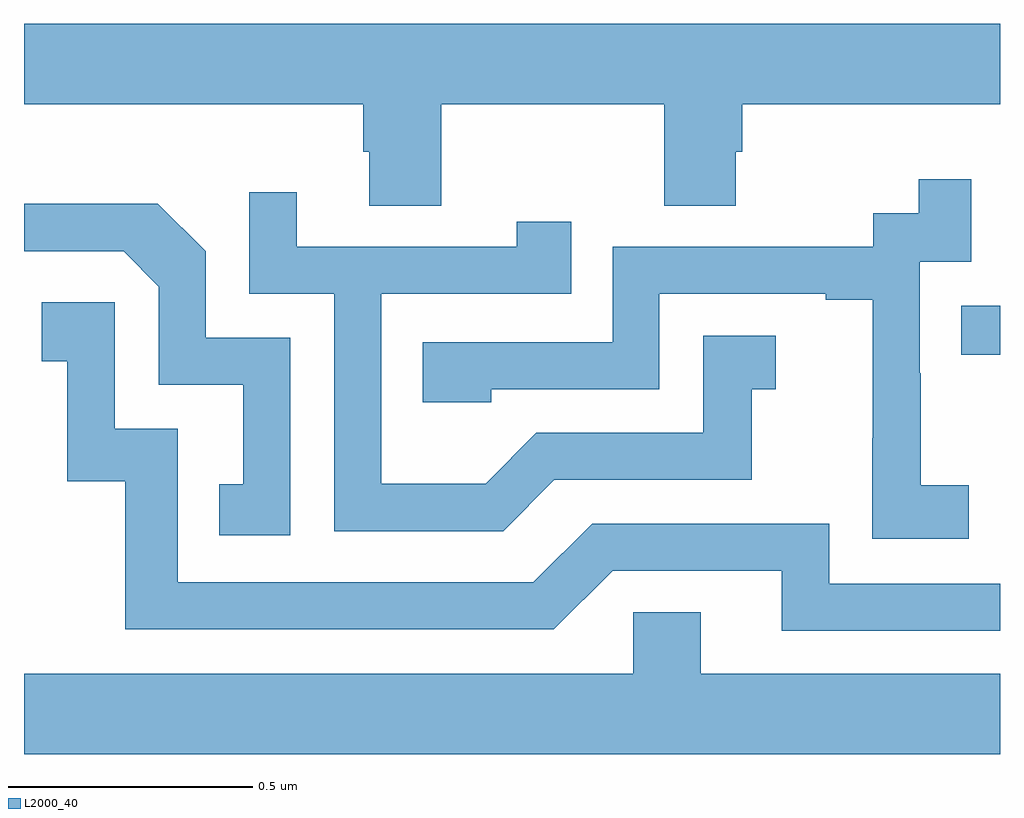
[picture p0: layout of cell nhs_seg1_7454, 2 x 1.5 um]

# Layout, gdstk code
import gdstk
lib = gdstk.Library(unit=1e-6, precision=1e-09)
def R(c, l, rs):  # rectangles x0, y0, x1, y1
    for r in rs: c.add(gdstk.rectangle(r[:2], r[2:], *l))
def P(c, l, *ps):  # polygons
    for p in ps: c.add(gdstk.Polygon(p, *l))
L2000_40 = (2000, 40)

nhs_seg1_7454 = lib.new_cell('nhs_seg1_7454')
R(nhs_seg1_7454, L2000_40, [(205.921,527.242,206,527.343)])
P(nhs_seg1_7454, L2000_40, [(204.855,527.756),(205.312,527.756),(205.312,527.548),(205.459,527.548),(205.459,527.658),(205.472,527.658),(205.472,527.756),(206,527.756),(206,527.92),(204,527.92),(204,527.756),(204.695,527.756),(204.695,527.658),(204.707,527.658),(204.707,527.548),(204.855,527.548)],
  [(205.936,526.975),(205.838,526.975),(205.838,527.204),(205.836,527.204),(205.836,527.433),(205.941,527.433),(205.941,527.602),(205.833,527.602),(205.833,527.532),(205.74,527.532),(205.74,527.463),(205.206,527.463),(205.206,527.268),(204.817,527.268),(204.817,527.145),(204.957,527.145),(204.957,527.172),(205.302,527.172),(205.302,527.367),(205.643,527.367),(205.643,527.355),(205.739,527.355),(205.739,527.071),(205.738,527.071),(205.738,526.865),(205.936,526.865)],
  [(205.087,526.986),(205.491,526.986),(205.491,527.171),(205.54,527.171),(205.54,527.281),(205.392,527.281),(205.392,527.082),(205.05,527.082),(204.946,526.978),(204.732,526.978),(204.732,527.367),(205.121,527.367),(205.121,527.515),(205.01,527.515),(205.01,527.463),(204.559,527.463),(204.559,527.575),(204.462,527.575),(204.462,527.367),(204.636,527.367),(204.636,526.881),(204.982,526.881)],
  [(204.546,527.277),(204.372,527.277),(204.372,527.454),(204.274,527.552),(204,527.552),(204,527.454),(204.204,527.454),(204.276,527.382),(204.276,527.181),(204.449,527.181),(204.449,526.977),(204.4,526.977),(204.4,526.872),(204.546,526.872)],
  [(206,526.773),(205.65,526.773),(205.65,526.896),(205.164,526.896),(205.044,526.776),(204.315,526.776),(204.315,527.091),(204.186,527.091),(204.186,527.35),(204.036,527.35),(204.036,527.229),(204.089,527.229),(204.089,526.983),(204.207,526.983),(204.207,526.68),(205.086,526.68),(205.206,526.8),(205.553,526.8),(205.553,526.677),(206,526.677)],
  [(206,526.588),(205.387,526.588),(205.387,526.715),(205.248,526.715),(205.248,526.588),(204,526.588),(204,526.424),(206,526.424)])

lib.write_gds('nhs_seg1_7454.gds')
